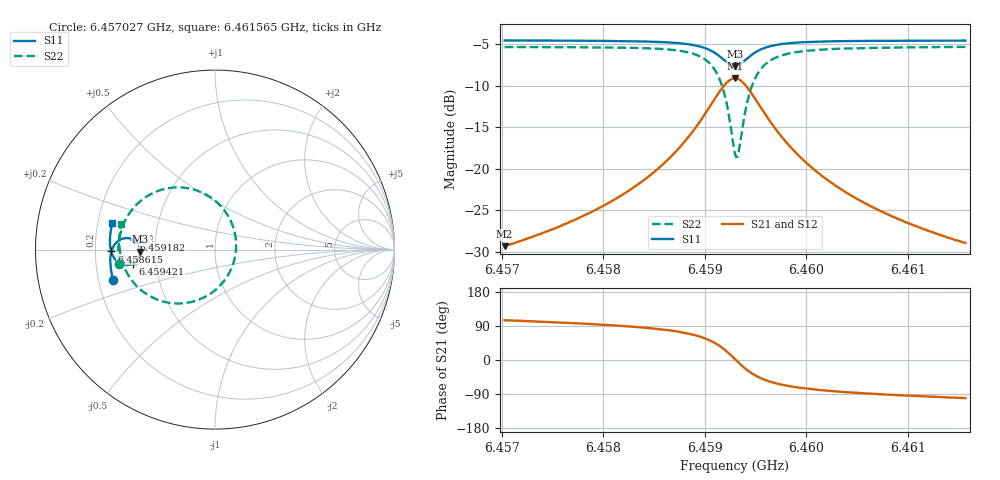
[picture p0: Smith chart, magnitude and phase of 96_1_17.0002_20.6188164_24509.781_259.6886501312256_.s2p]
#  HZ  S  RI  R  50.00
! Rohde & Schwarz Vector Network Analyzer
! Rohde-Schwarz,ZNB20-2Port,1311601062101988,3.16
! Created: UTC 3/20/2024, 10:56:19 PM
! freq[Hz]  re:S11  im:S11  re:S21  im:S21  re:S12  im:S12  re:S22  im:S22
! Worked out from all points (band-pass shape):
!   401 points, 6.457027 GHz to 6.461565 GHz, reference 50 ohm
!   highest |S21| = -9.13 dB at 6.459296 GHz (marker M1); lowest = -29.4 dB at 6.457027 GHz (marker M2)
!   |S21| within 3 dB of the highest: 6.459069 GHz to 6.459523 GHz (454.2 kHz wide, 0.00703 % of centre)
!   lowest |S11| = -7.6 dB at 6.459296 GHz (marker M3), VSWR 2.42, Z = 20.7 - j0.533 ohm
!   |S11| at or under -10 dB: nowhere
!   |S22| runs from -18.6 to -5.3 dB; largest |S21 - S12| = 0.014
!   S11 on the Smith chart (normalised r, x): 6.457027 GHz: 0.26, -0.14; 6.458615 GHz: 0.27, -0.01; 6.459182 GHz: 0.38, +0.05; 6.459421 GHz: 0.37, -0.07; 6.461565 GHz: 0.26, +0.12
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6.4570265e9  -0.5671 -0.1698  -0.00873 0.0329  -0.007 0.0329  -0.5341 -0.0797
6.4577868e9  -0.5806 -0.103  -0.00535 0.0511  -0.00279 0.0504  -0.5386 0.01
6.4581953e9  -0.5834 -0.0618  0.000466 0.0701  0.00369 0.0687  -0.5304 0.0752
6.458547e9  -0.5794 -0.0197  0.0148 0.0999  0.0188 0.0971  -0.5038 0.1552
6.4586151e9  -0.5771 -0.01  0.0201 0.1085  0.0243 0.1052  -0.4935 0.1753
6.458808e9  -0.5642 0.0205  0.0472 0.1397  0.0514 0.1347  -0.4427 0.2446
6.4589555e9  -0.5413 0.0468  0.0932 0.1703  0.0963 0.1636  -0.358 0.309
6.4590917e9  -0.4967 0.0642  0.1817 0.1867  0.1826 0.1794  -0.1965 0.3464
6.4591825e9  -0.4515 0.0535  0.2727 0.1546  0.2727 0.1488  -0.0287 0.294
6.4592506e9  -0.4222 0.0208  0.3334 0.0815  0.3356 0.0762  0.0866 0.1621
6.459296e9  -0.4153 -0.0107  0.3494 0.0127  0.3533 0.00581  0.1179 0.0335
6.4593073e9  -0.4157 -0.019  0.3492 -0.00531  0.3531 -0.0128  0.1172 -0.000434
6.45933e9  -0.4194 -0.0348  0.3434 -0.0405  0.3473 -0.0494  0.1053 -0.0667
6.4593754e9  -0.4353 -0.0612  0.314 -0.1008  0.3164 -0.1127  0.0459 -0.1802
6.4594208e9  -0.4576 -0.0778  0.2714 -0.1419  0.2706 -0.1552  -0.0404 -0.255
6.4595116e9  -0.5015 -0.0848  0.1857 -0.1729  0.1795 -0.1845  -0.2109 -0.3001
6.4596591e9  -0.5459 -0.0643  0.097 -0.1586  0.0884 -0.1648  -0.3794 -0.2494
6.4598179e9  -0.5677 -0.0367  0.0518 -0.1303  0.0441 -0.1331  -0.4599 -0.1765
6.4600562e9  -0.5806 -0.00117  0.0224 -0.0983  0.0165 -0.0989  -0.5078 -0.0935
6.4604193e9  -0.5855 0.042  0.00562 -0.0698  0.00172 -0.0693  -0.5297 -0.00989
6.4608165e9  -0.5837 0.082  -0.00142 -0.0524  -0.00431 -0.0516  -0.5333 0.0537
6.4615654e9  -0.572 0.1487  -0.00651 -0.0351  -0.00823 -0.0341  -0.5222 0.1431
